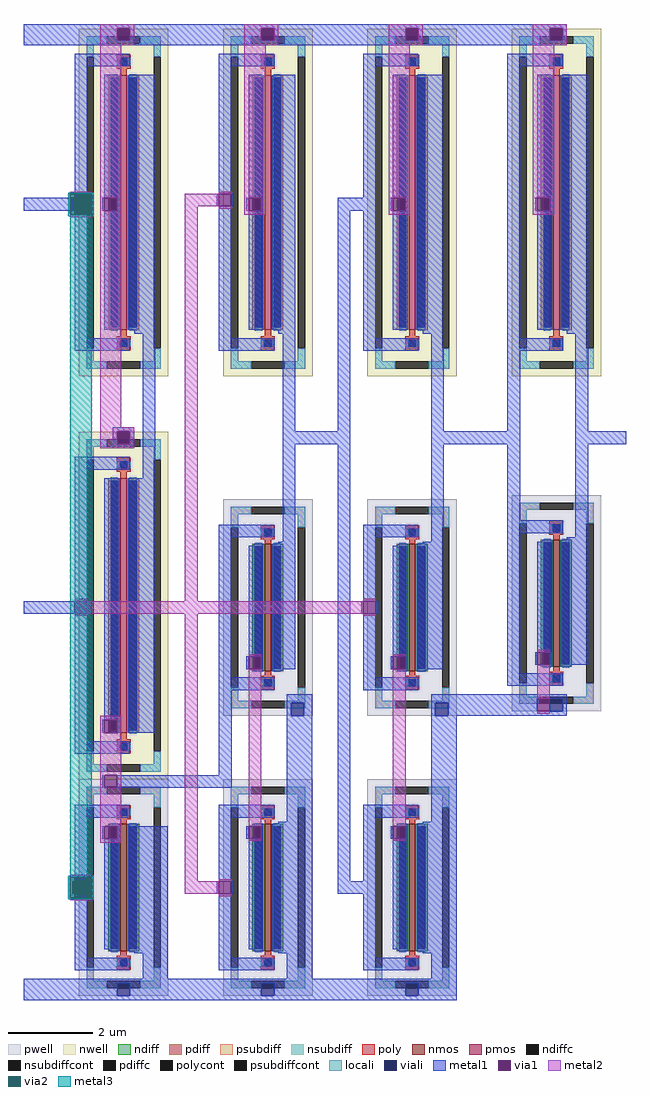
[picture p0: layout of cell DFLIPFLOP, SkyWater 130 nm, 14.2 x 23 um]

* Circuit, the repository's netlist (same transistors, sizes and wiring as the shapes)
** sch_path: /home/Rodin/codes/analogic/500pll/DFLIPFLOP.sch
**.subckt DFLIPFLOP VDD D Q CLK NQ GND
*.ipin CLK
*.ipin D
*.ipin VDD
*.ipin GND
*.opin Q
*.opin NQ
XM2 net1 D VDD VDD sky130_fd_pr__pfet_01v8 L=0.15 W=6 nf=1 ad=1.74 as=1.74 pd=12.58 ps=12.58 nrd=0.0483333333333333
+ nrs=0.0483333333333333 sa=0 sb=0 sd=0 mult=1
XM7 net2 D GND GND sky130_fd_pr__nfet_01v8 L=0.15 W=3 nf=1 ad=0.87 as=0.87 pd=6.58 ps=6.58 nrd=0.0966666666666667
+ nrs=0.0966666666666667 sa=0 sb=0 sd=0 mult=1
XM1 net4 CLK VDD VDD sky130_fd_pr__pfet_01v8 L=0.15 W=6 nf=1 ad=1.74 as=1.74 pd=12.58 ps=12.58 nrd=0.0483333333333333
+ nrs=0.0483333333333333 sa=0 sb=0 sd=0 mult=1
XM3 NQ net4 VDD VDD sky130_fd_pr__pfet_01v8 L=0.15 W=6 nf=1 ad=1.74 as=1.74 pd=12.58 ps=12.58 nrd=0.0483333333333333
+ nrs=0.0483333333333333 sa=0 sb=0 sd=0 mult=1
XM5 net2 CLK net1 VDD sky130_fd_pr__pfet_01v8 L=0.15 W=6 nf=1 ad=1.74 as=1.74 pd=12.58 ps=12.58 nrd=0.0483333333333333
+ nrs=0.0483333333333333 sa=0 sb=0 sd=0 mult=1
XM6 Q NQ VDD VDD sky130_fd_pr__pfet_01v8 L=0.15 W=6 nf=1 ad=1.74 as=1.74 pd=12.58 ps=12.58 nrd=0.0483333333333333
+ nrs=0.0483333333333333 sa=0 sb=0 sd=0 mult=1
XM4 net3 CLK GND GND sky130_fd_pr__nfet_01v8 L=0.15 W=3 nf=1 ad=0.87 as=0.87 pd=6.58 ps=6.58 nrd=0.0966666666666667
+ nrs=0.0966666666666667 sa=0 sb=0 sd=0 mult=1
XM8 net4 net2 net3 GND sky130_fd_pr__nfet_01v8 L=0.15 W=3 nf=1 ad=0.87 as=0.87 pd=6.58 ps=6.58 nrd=0.0966666666666667
+ nrs=0.0966666666666667 sa=0 sb=0 sd=0 mult=1
XM9 NQ CLK net5 GND sky130_fd_pr__nfet_01v8 L=0.15 W=3 nf=1 ad=0.87 as=0.87 pd=6.58 ps=6.58 nrd=0.0966666666666667
+ nrs=0.0966666666666667 sa=0 sb=0 sd=0 mult=1
XM10 net5 net4 GND GND sky130_fd_pr__nfet_01v8 L=0.15 W=3 nf=1 ad=0.87 as=0.87 pd=6.58 ps=6.58 nrd=0.0966666666666667
+ nrs=0.0966666666666667 sa=0 sb=0 sd=0 mult=1
XM11 Q NQ GND GND sky130_fd_pr__nfet_01v8 L=0.15 W=3 nf=1 ad=0.87 as=0.87 pd=6.58 ps=6.58 nrd=0.0966666666666667
+ nrs=0.0966666666666667 sa=0 sb=0 sd=0 mult=1
**.ends
.end

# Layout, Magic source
magic
tech sky130A
magscale 1 2
<< viali >>
rect 900 1800 960 1860
rect 1580 1800 1640 1860
rect 2260 1800 2320 1860
rect 2940 1800 3000 1860
rect 900 -100 960 -40
rect 1720 -1380 1780 -1320
rect 2400 -1380 2460 -1320
rect 2940 -1360 3000 -1300
rect 900 -2700 960 -2640
rect 1580 -2700 1640 -2640
rect 2260 -2700 2320 -2640
<< metal1 >>
rect 460 1860 3020 1880
rect 460 1800 900 1860
rect 960 1800 1580 1860
rect 1640 1800 2260 1860
rect 2320 1800 2940 1860
rect 3000 1800 3020 1860
rect 460 1780 3020 1800
rect 700 1680 960 1740
rect 1380 1680 1640 1740
rect 2060 1680 2320 1740
rect 2740 1680 3000 1740
rect 700 1060 760 1680
rect 840 1060 900 1640
rect 460 1000 700 1060
rect 760 1000 770 1060
rect 830 1000 840 1060
rect 900 1000 910 1060
rect 700 400 760 1000
rect 840 440 900 1000
rect 960 440 1080 1640
rect 1380 1080 1440 1680
rect 1370 1020 1380 1080
rect 1440 1020 1450 1080
rect 1520 1060 1580 1640
rect 980 420 1080 440
rect 700 340 960 400
rect 880 -40 980 -20
rect 880 -100 900 -40
rect 960 -100 980 -40
rect 880 -120 980 -100
rect 700 -220 960 -160
rect 700 -840 760 -220
rect 1020 -260 1080 420
rect 1380 400 1440 1020
rect 1510 1000 1520 1060
rect 1580 1000 1590 1060
rect 1520 440 1580 1000
rect 1640 440 1740 1640
rect 2060 1060 2120 1680
rect 2200 1060 2260 1640
rect 1660 420 1740 440
rect 1380 340 1640 400
rect 460 -900 700 -840
rect 760 -900 770 -840
rect 700 -1500 760 -900
rect 840 -1400 900 -260
rect 830 -1460 840 -1400
rect 900 -1460 910 -1400
rect 960 -1460 1080 -260
rect 1680 -40 1740 420
rect 1940 1000 2120 1060
rect 2190 1000 2200 1060
rect 2260 1000 2270 1060
rect 1940 -40 2000 1000
rect 2060 400 2120 1000
rect 2200 440 2260 1000
rect 2320 440 2440 1640
rect 2340 420 2440 440
rect 2060 340 2320 400
rect 1680 -100 2000 -40
rect 1380 -540 1640 -480
rect 1380 -1200 1440 -540
rect 1680 -560 1740 -100
rect 1660 -580 1740 -560
rect 1520 -1100 1580 -580
rect 1510 -1160 1520 -1100
rect 1580 -1160 1590 -1100
rect 1640 -1160 1740 -580
rect 1380 -1260 1640 -1200
rect 700 -1560 960 -1500
rect 1380 -1660 1440 -1260
rect 830 -1720 840 -1660
rect 900 -1720 1440 -1660
rect 1700 -1320 1820 -1280
rect 1700 -1380 1720 -1320
rect 1780 -1380 1820 -1320
rect 700 -1860 960 -1800
rect 1380 -1860 1640 -1800
rect 700 -2160 760 -1860
rect 830 -1960 840 -1900
rect 900 -1960 910 -1900
rect 690 -2220 700 -2160
rect 760 -2220 770 -2160
rect 700 -2520 760 -2220
rect 840 -2480 900 -1960
rect 960 -2480 1140 -1900
rect 1380 -2160 1440 -1860
rect 1700 -1880 1820 -1380
rect 1660 -1900 1820 -1880
rect 1510 -1960 1520 -1900
rect 1580 -1960 1590 -1900
rect 1370 -2220 1380 -2160
rect 1440 -2220 1450 -2160
rect 980 -2500 1140 -2480
rect 700 -2580 960 -2520
rect 1020 -2620 1140 -2500
rect 1380 -2520 1440 -2220
rect 1520 -2480 1580 -1960
rect 1640 -2480 1820 -1900
rect 1940 -2160 2000 -100
rect 2380 -40 2440 420
rect 2740 400 2800 1680
rect 2880 1060 2940 1640
rect 2870 1000 2880 1060
rect 2940 1000 2950 1060
rect 2880 440 2940 1000
rect 3000 440 3120 1640
rect 3020 420 3120 440
rect 2740 340 3000 400
rect 2740 -40 2800 340
rect 2380 -100 2800 -40
rect 2060 -540 2320 -480
rect 2060 -840 2120 -540
rect 2380 -560 2440 -100
rect 2340 -580 2440 -560
rect 2050 -900 2060 -840
rect 2120 -900 2130 -840
rect 2060 -1200 2120 -900
rect 2200 -1100 2260 -580
rect 2190 -1160 2200 -1100
rect 2260 -1160 2270 -1100
rect 2320 -1160 2440 -580
rect 2740 -460 2800 -100
rect 3060 -40 3120 420
rect 3060 -100 3300 -40
rect 2740 -520 3000 -460
rect 2740 -1180 2800 -520
rect 3060 -540 3120 -100
rect 3020 -560 3120 -540
rect 2880 -1080 2940 -560
rect 2870 -1140 2880 -1080
rect 2940 -1140 2950 -1080
rect 3000 -1140 3120 -560
rect 2060 -1260 2320 -1200
rect 2740 -1240 3000 -1180
rect 2380 -1300 3020 -1280
rect 2380 -1320 2880 -1300
rect 2380 -1380 2400 -1320
rect 2460 -1360 2880 -1320
rect 3000 -1360 3020 -1300
rect 2460 -1380 3020 -1360
rect 2060 -1860 2320 -1800
rect 2060 -2160 2120 -1860
rect 2380 -1880 2500 -1380
rect 2340 -1900 2500 -1880
rect 2190 -1960 2200 -1900
rect 2260 -1960 2270 -1900
rect 1940 -2220 2120 -2160
rect 1660 -2500 1820 -2480
rect 1380 -2580 1640 -2520
rect 1700 -2620 1820 -2500
rect 2060 -2520 2120 -2220
rect 2200 -2480 2260 -1960
rect 2320 -2480 2500 -1900
rect 2340 -2500 2500 -2480
rect 2060 -2580 2320 -2520
rect 2380 -2620 2500 -2500
rect 460 -2640 2500 -2620
rect 460 -2700 900 -2640
rect 960 -2700 1580 -2640
rect 1640 -2700 2260 -2640
rect 2320 -2700 2500 -2640
rect 460 -2720 2500 -2700
<< via1 >>
rect 900 1800 960 1860
rect 1580 1800 1640 1860
rect 2260 1800 2320 1860
rect 2940 1800 3000 1860
rect 700 1000 760 1060
rect 840 1000 900 1060
rect 1380 1020 1440 1080
rect 900 -100 960 -40
rect 1520 1000 1580 1060
rect 700 -900 760 -840
rect 840 -1460 900 -1400
rect 2200 1000 2260 1060
rect 1520 -1160 1580 -1100
rect 840 -1720 900 -1660
rect 840 -1960 900 -1900
rect 700 -2220 760 -2160
rect 1520 -1960 1580 -1900
rect 1380 -2220 1440 -2160
rect 2880 1000 2940 1060
rect 2060 -900 2120 -840
rect 2200 -1160 2260 -1100
rect 2880 -1140 2940 -1080
rect 2880 -1360 2940 -1300
rect 2200 -1960 2260 -1900
<< metal2 >>
rect 820 1860 980 1880
rect 820 1800 900 1860
rect 960 1800 980 1860
rect 820 1780 980 1800
rect 1500 1860 1660 1880
rect 1500 1800 1580 1860
rect 1640 1800 1660 1860
rect 1500 1780 1660 1800
rect 2180 1860 2340 1880
rect 2180 1800 2260 1860
rect 2320 1800 2340 1860
rect 2180 1780 2340 1800
rect 2860 1860 3020 1880
rect 2860 1800 2940 1860
rect 3000 1800 3020 1860
rect 2860 1780 3020 1800
rect 680 1080 780 1090
rect 680 970 780 980
rect 820 1060 920 1780
rect 1380 1080 1440 1090
rect 820 1000 840 1060
rect 900 1000 920 1060
rect 820 -20 920 1000
rect 1220 1020 1380 1080
rect 820 -40 980 -20
rect 820 -100 900 -40
rect 960 -100 980 -40
rect 820 -120 980 -100
rect 700 -840 760 -830
rect 1220 -840 1280 1020
rect 1380 1010 1440 1020
rect 1500 1060 1600 1780
rect 1500 1000 1520 1060
rect 1580 1000 1600 1060
rect 1500 980 1600 1000
rect 2180 1060 2280 1780
rect 2180 1000 2200 1060
rect 2260 1000 2280 1060
rect 2180 980 2280 1000
rect 2860 1060 2960 1780
rect 2860 1000 2880 1060
rect 2940 1000 2960 1060
rect 2860 980 2960 1000
rect 2060 -840 2120 -830
rect 760 -900 2060 -840
rect 700 -910 760 -900
rect 820 -1400 920 -1380
rect 820 -1460 840 -1400
rect 900 -1460 920 -1400
rect 820 -1660 920 -1460
rect 820 -1720 840 -1660
rect 900 -1720 920 -1660
rect 820 -1900 920 -1720
rect 820 -1960 840 -1900
rect 900 -1960 920 -1900
rect 820 -1980 920 -1960
rect 680 -2140 780 -2130
rect 1220 -2160 1280 -900
rect 2060 -910 2120 -900
rect 2880 -1080 2940 -1070
rect 1520 -1100 1580 -1090
rect 1520 -1900 1580 -1160
rect 1520 -1970 1580 -1960
rect 2200 -1100 2260 -1090
rect 2200 -1900 2260 -1160
rect 2880 -1300 2940 -1140
rect 2880 -1370 2940 -1360
rect 2200 -1970 2260 -1960
rect 1380 -2160 1440 -2150
rect 1220 -2220 1380 -2160
rect 1380 -2230 1440 -2220
rect 680 -2250 780 -2240
<< via2 >>
rect 680 1060 780 1080
rect 680 1000 700 1060
rect 700 1000 760 1060
rect 760 1000 780 1060
rect 680 980 780 1000
rect 680 -2160 780 -2140
rect 680 -2220 700 -2160
rect 700 -2220 760 -2160
rect 760 -2220 780 -2160
rect 680 -2240 780 -2220
<< metal3 >>
rect 670 1080 790 1085
rect 670 980 680 1080
rect 780 980 790 1080
rect 670 975 790 980
rect 680 -2135 780 975
rect 670 -2140 790 -2135
rect 670 -2240 680 -2140
rect 780 -2240 790 -2140
rect 670 -2245 790 -2240
use sky130_fd_pr__pfet_01v8_LE4Y8H  XM1
transform 1 0 931 0 1 -861
box -211 -819 211 819
use sky130_fd_pr__pfet_01v8_LE4Y8H  XM2
transform 1 0 931 0 1 1039
box -211 -819 211 819
use sky130_fd_pr__pfet_01v8_LE4Y8H  XM3
transform 1 0 1611 0 1 1039
box -211 -819 211 819
use sky130_fd_pr__nfet_01v8_GM8MVP  XM4
transform 1 0 1611 0 1 -870
box -211 -510 211 510
use sky130_fd_pr__pfet_01v8_LE4Y8H  XM5
transform 1 0 2291 0 1 1039
box -211 -819 211 819
use sky130_fd_pr__pfet_01v8_LE4Y8H  XM6
transform 1 0 2971 0 1 1039
box -211 -819 211 819
use sky130_fd_pr__nfet_01v8_GM8MVP  XM7
transform 1 0 931 0 1 -2190
box -211 -510 211 510
use sky130_fd_pr__nfet_01v8_GM8MVP  XM8
transform 1 0 2291 0 1 -870
box -211 -510 211 510
use sky130_fd_pr__nfet_01v8_GM8MVP  XM9
transform 1 0 2971 0 1 -850
box -211 -510 211 510
use sky130_fd_pr__nfet_01v8_GM8MVP  XM10
transform 1 0 1611 0 1 -2190
box -211 -510 211 510
use sky130_fd_pr__nfet_01v8_GM8MVP  XM11
transform 1 0 2291 0 1 -2190
box -211 -510 211 510
<< end >>

# cell sky130_fd_pr__pfet_01v8_LE4Y8H: kit device sky130_fd_pr__pfet_01v8, w 6.0 l 0.15 m 1 nf 1 diffcov 100 polycov 100 guard 1 glc 1 grc 1 gtc 1 gbc 1 tbcov 100 rlcov 100 topc 1 botc 1 poverlap 0 doverlap 1 lmin 0.15 wmin 0.42 class mosfet compatible {sky130_fd_pr__pfet_01v8 sky130_fd_pr__pfet_01v8_lvt sky130_fd_pr__pfet_01v8_hvt sky130_fd_pr__pfet_g5v0d10v5} full_metal 1 conn_gates 0 viasrc 100 viadrn 100 viagate 100 viagb 0 viagr 0 viagl 0 viagt 0 doports 1 ad 1.74 as 1.74 pd 12.58 ps 12.58 nrd 0.0483333333333333 nrs 0.0483333333333333 sa 0 sb 0 sd 0 mult 1

# cell sky130_fd_pr__nfet_01v8_GM8MVP: kit device sky130_fd_pr__nfet_01v8, w 3.0 l 0.15 m 1 nf 1 diffcov 100 polycov 100 guard 1 glc 1 grc 1 gtc 1 gbc 1 tbcov 100 rlcov 100 topc 1 botc 1 poverlap 0 doverlap 1 lmin 0.15 wmin 0.42 class mosfet compatible {sky130_fd_pr__nfet_01v8 sky130_fd_pr__nfet_01v8_lvt sky130_fd_bs_flash__special_sonosfet_star sky130_fd_pr__nfet_g5v0d10v5 sky130_fd_pr__nfet_05v0_nvt sky130_fd_pr__nfet_03v3_nvt} full_metal 1 conn_gates 0 viasrc 100 viadrn 100 viagate 100 viagb 0 viagr 0 viagl 0 viagt 0 doports 1 ad 0.87 as 0.87 pd 6.58 ps 6.58 nrd 0.0966666666666667 nrs 0.0966666666666667 sa 0 sb 0 sd 0 mult 1
